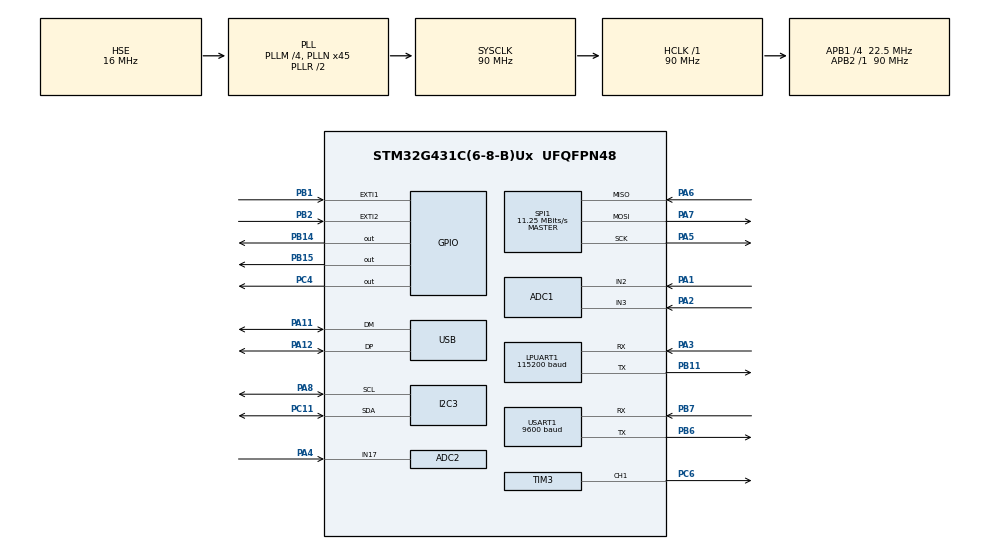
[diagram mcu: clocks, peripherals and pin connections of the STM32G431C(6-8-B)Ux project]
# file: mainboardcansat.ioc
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ADC1.Channel-0\#ChannelRegularConversion=ADC_CHANNEL_VREFINT
ADC1.Channel-1\#ChannelRegularConversion=ADC_CHANNEL_TEMPSENSOR_ADC1
ADC1.Channel-2\#ChannelRegularConversion=ADC_CHANNEL_2
ADC1.Channel-3\#ChannelRegularConversion=ADC_CHANNEL_3
ADC1.ContinuousConvMode=ENABLE
ADC1.EOCSelection=ADC_EOC_SEQ_CONV
ADC1.ExternalTrigConv=ADC_EXTERNALTRIG_T4_TRGO
ADC1.NbrOfConversion=4
ADC1.NbrOfConversionFlag=1
ADC1.OffsetNumber-0\#ChannelRegularConversion=ADC_OFFSET_NONE
ADC1.OffsetNumber-1\#ChannelRegularConversion=ADC_OFFSET_NONE
ADC1.OffsetNumber-2\#ChannelRegularConversion=ADC_OFFSET_NONE
ADC1.OffsetNumber-3\#ChannelRegularConversion=ADC_OFFSET_NONE
ADC1.Rank-0\#ChannelRegularConversion=1
ADC1.Rank-1\#ChannelRegularConversion=2
ADC1.Rank-2\#ChannelRegularConversion=3
ADC1.Rank-3\#ChannelRegularConversion=4
ADC1.SamplingTime-0\#ChannelRegularConversion=ADC_SAMPLETIME_640CYCLES_5
ADC1.SamplingTime-1\#ChannelRegularConversion=ADC_SAMPLETIME_640CYCLES_5
ADC1.SamplingTime-2\#ChannelRegularConversion=ADC_SAMPLETIME_640CYCLES_5
ADC1.SamplingTime-3\#ChannelRegularConversion=ADC_SAMPLETIME_640CYCLES_5
ADC1.master=1
ADC2.Channel-0\#ChannelRegularConversion=ADC_CHANNEL_17
ADC2.ContinuousConvMode=ENABLE
ADC2.ExternalTrigConv=ADC_EXTERNALTRIG_T4_TRGO
ADC2.NbrOfConversionFlag=1
ADC2.OffsetNumber-0\#ChannelRegularConversion=ADC_OFFSET_NONE
ADC2.Rank-0\#ChannelRegularConversion=1
ADC2.SamplingTime-0\#ChannelRegularConversion=ADC_SAMPLETIME_640CYCLES_5
Dma.ADC1.2.Direction=DMA_PERIPH_TO_MEMORY
Dma.ADC1.2.EventEnable=DISABLE
Dma.ADC1.2.Instance=DMA1_Channel3
Dma.ADC1.2.MemDataAlignment=DMA_MDATAALIGN_HALFWORD
Dma.ADC1.2.MemInc=DMA_MINC_ENABLE
Dma.ADC1.2.Mode=DMA_CIRCULAR
Dma.ADC1.2.PeriphDataAlignment=DMA_PDATAALIGN_HALFWORD
Dma.ADC1.2.PeriphInc=DMA_PINC_DISABLE
Dma.ADC1.2.Polarity=HAL_DMAMUX_REQ_GEN_RISING
Dma.ADC1.2.Priority=DMA_PRIORITY_LOW
Dma.ADC1.2.RequestNumber=1
Dma.ADC1.2.SignalID=NONE
Dma.ADC1.2.SyncEnable=DISABLE
Dma.ADC1.2.SyncPolarity=HAL_DMAMUX_SYNC_NO_EVENT
Dma.ADC1.2.SyncRequestNumber=1
Dma.ADC1.2.SyncSignalID=NONE
Dma.ADC2.4.Direction=DMA_PERIPH_TO_MEMORY
Dma.ADC2.4.EventEnable=DISABLE
Dma.ADC2.4.Instance=DMA1_Channel5
Dma.ADC2.4.MemDataAlignment=DMA_MDATAALIGN_HALFWORD
Dma.ADC2.4.MemInc=DMA_MINC_ENABLE
Dma.ADC2.4.Mode=DMA_CIRCULAR
Dma.ADC2.4.PeriphDataAlignment=DMA_PDATAALIGN_HALFWORD
Dma.ADC2.4.PeriphInc=DMA_PINC_DISABLE
Dma.ADC2.4.Polarity=HAL_DMAMUX_REQ_GEN_RISING
Dma.ADC2.4.Priority=DMA_PRIORITY_LOW
Dma.ADC2.4.RequestNumber=1
Dma.ADC2.4.SignalID=NONE
Dma.ADC2.4.SyncEnable=DISABLE
Dma.ADC2.4.SyncPolarity=HAL_DMAMUX_SYNC_NO_EVENT
Dma.ADC2.4.SyncRequestNumber=1
Dma.ADC2.4.SyncSignalID=NONE
Dma.LPUART1_RX.0.Direction=DMA_PERIPH_TO_MEMORY
Dma.LPUART1_RX.0.EventEnable=DISABLE
Dma.LPUART1_RX.0.Instance=DMA1_Channel1
Dma.LPUART1_RX.0.MemDataAlignment=DMA_MDATAALIGN_BYTE
Dma.LPUART1_RX.0.MemInc=DMA_MINC_ENABLE
Dma.LPUART1_RX.0.Mode=DMA_NORMAL
Dma.LPUART1_RX.0.PeriphDataAlignment=DMA_PDATAALIGN_BYTE
Dma.LPUART1_RX.0.PeriphInc=DMA_PINC_DISABLE
Dma.LPUART1_RX.0.Polarity=HAL_DMAMUX_REQ_GEN_RISING
Dma.LPUART1_RX.0.Priority=DMA_PRIORITY_LOW
Dma.LPUART1_RX.0.RequestNumber=1
Dma.LPUART1_RX.0.SignalID=NONE
Dma.LPUART1_RX.0.SyncEnable=DISABLE
Dma.LPUART1_RX.0.SyncPolarity=HAL_DMAMUX_SYNC_NO_EVENT
Dma.LPUART1_RX.0.SyncRequestNumber=1
Dma.LPUART1_RX.0.SyncSignalID=NONE
Dma.LPUART1_TX.1.Direction=DMA_MEMORY_TO_PERIPH
Dma.LPUART1_TX.1.EventEnable=DISABLE
Dma.LPUART1_TX.1.Instance=DMA1_Channel2
Dma.LPUART1_TX.1.MemDataAlignment=DMA_MDATAALIGN_BYTE
Dma.LPUART1_TX.1.MemInc=DMA_MINC_ENABLE
Dma.LPUART1_TX.1.Mode=DMA_NORMAL
Dma.LPUART1_TX.1.PeriphDataAlignment=DMA_PDATAALIGN_BYTE
Dma.LPUART1_TX.1.PeriphInc=DMA_PINC_DISABLE
Dma.LPUART1_TX.1.Polarity=HAL_DMAMUX_REQ_GEN_RISING
Dma.LPUART1_TX.1.Priority=DMA_PRIORITY_LOW
Dma.LPUART1_TX.1.RequestNumber=1
Dma.LPUART1_TX.1.SignalID=NONE
Dma.LPUART1_TX.1.SyncEnable=DISABLE
Dma.LPUART1_TX.1.SyncPolarity=HAL_DMAMUX_SYNC_NO_EVENT
Dma.LPUART1_TX.1.SyncRequestNumber=1
Dma.LPUART1_TX.1.SyncSignalID=NONE
Dma.Request0=LPUART1_RX
Dma.Request1=LPUART1_TX
Dma.Request2=ADC1
Dma.Request3=USART1_RX
Dma.Request4=ADC2
Dma.USART1_RX.3.Direction=DMA_PERIPH_TO_MEMORY
Dma.USART1_RX.3.EventEnable=DISABLE
Dma.USART1_RX.3.Instance=DMA1_Channel4
Dma.USART1_RX.3.MemDataAlignment=DMA_MDATAALIGN_BYTE
Dma.USART1_RX.3.MemInc=DMA_MINC_ENABLE
Dma.USART1_RX.3.Mode=DMA_CIRCULAR
Dma.USART1_RX.3.PeriphDataAlignment=DMA_PDATAALIGN_BYTE
Dma.USART1_RX.3.PeriphInc=DMA_PINC_DISABLE
Dma.USART1_RX.3.Polarity=HAL_DMAMUX_REQ_GEN_RISING
Dma.USART1_RX.3.Priority=DMA_PRIORITY_LOW
Dma.USART1_RX.3.RequestNumber=1
Dma.USART1_RX.3.SignalID=NONE
Dma.USART1_RX.3.SyncEnable=DISABLE
Dma.USART1_RX.3.SyncPolarity=HAL_DMAMUX_SYNC_NO_EVENT
Dma.USART1_RX.3.SyncRequestNumber=1
Dma.USART1_RX.3.SyncSignalID=NONE
I2C3.Timing=0x0070597B
LPUART1.BaudRate=115200
Mcu.Family=STM32G4
Mcu.Name=STM32G431C(6-8-B)Ux
Mcu.Package=UFQFPN48
NVIC.DMA1_Channel1_IRQn=true\:0\:0\:false\:false\:true\:false\:true\:true
NVIC.DMA1_Channel2_IRQn=true\:0\:0\:false\:false\:true\:false\:true\:true
NVIC.DMA1_Channel3_IRQn=true\:0\:0\:false\:false\:true\:false\:true\:true
NVIC.DMA1_Channel4_IRQn=true\:0\:0\:false\:false\:true\:false\:true\:true
NVIC.DMA1_Channel5_IRQn=true\:0\:0\:false\:false\:true\:false\:true\:true
NVIC.EXTI1_IRQn=true\:0\:0\:false\:false\:true\:true\:true\:true
NVIC.EXTI2_IRQn=true\:0\:0\:false\:false\:true\:true\:true\:true
NVIC.LPUART1_IRQn=true\:0\:0\:false\:false\:true\:true\:true\:true
NVIC.PriorityGroup=NVIC_PRIORITYGROUP_4
NVIC.TIM3_IRQn=true\:0\:0\:false\:false\:true\:true\:true\:true
NVIC.USART1_IRQn=true\:0\:0\:false\:false\:true\:true\:true\:true
PA1.Mode=IN2-Single-Ended
PA1.Signal=ADC1_IN2
PA11.Mode=Device
PA11.Signal=USB_DM
PA12.Mode=Device
PA12.Signal=USB_DP
PA13.Mode=Trace_Asynchronous_SW
PA13.Signal=SYS_JTMS-SWDIO
PA14.Mode=Trace_Asynchronous_SW
PA14.Signal=SYS_JTCK-SWCLK
PA2.Mode=IN3-Single-Ended
PA2.Signal=ADC1_IN3
PA3.Mode=Asynchronous
PA3.Signal=LPUART1_RX
PA4.Mode=IN17-Single-Ended
PA4.Signal=ADC2_IN17
PA5.Mode=Full_Duplex_Master
PA5.Signal=SPI1_SCK
PA6.Mode=Full_Duplex_Master
PA6.Signal=SPI1_MISO
PA7.Mode=Full_Duplex_Master
PA7.Signal=SPI1_MOSI
PA8.Mode=I2C
PA8.Signal=I2C3_SCL
PB1.Signal=GPXTI1
PB11.Mode=Asynchronous
PB11.Signal=LPUART1_TX
PB14.Signal=GPIO_Output
PB15.Signal=GPIO_Output
PB2.Signal=GPXTI2
PB3.Mode=Trace_Asynchronous_SW
PB3.Signal=SYS_JTDO-SWO
PB6.Mode=Asynchronous
PB6.Signal=USART1_TX
PB7.Mode=Asynchronous
PB7.Signal=USART1_RX
PC11.Mode=I2C
PC11.Signal=I2C3_SDA
PC4.Signal=GPIO_Output
PC6.Signal=S_TIM3_CH1
PF0-OSC_IN.Mode=HSE-External-Oscillator
PF0-OSC_IN.Signal=RCC_OSC_IN
PF1-OSC_OUT.Mode=HSE-External-Oscillator
PF1-OSC_OUT.Signal=RCC_OSC_OUT
ProjectManager.HeapSize=0x200
ProjectManager.StackSize=0x400
ProjectManager.TargetToolchain=STM32CubeIDE
RCC.ADC12Freq_Value=90000000
RCC.AHBFreq_Value=90000000
RCC.APB1CLKDivider=RCC_HCLK_DIV4
RCC.APB1Freq_Value=22500000
RCC.APB1TimFreq_Value=45000000
RCC.APB2Freq_Value=90000000
RCC.APB2TimFreq_Value=90000000
RCC.CK48CLockSelection=RCC_USBCLKSOURCE_HSI48
RCC.CortexFreq_Value=90000000
RCC.EXTERNAL_CLOCK_VALUE=12288000
RCC.HCLKFreq_Value=90000000
RCC.HSE_VALUE=16000000
RCC.HSI48_VALUE=48000000
RCC.HSI_VALUE=16000000
RCC.LSE_VALUE=32768
RCC.PLLM=RCC_PLLM_DIV4
RCC.PLLN=45
RCC.PLLSourceVirtual=RCC_PLLSOURCE_HSE
RCC.SYSCLKFreq_VALUE=90000000
RCC.SYSCLKSource=RCC_SYSCLKSOURCE_PLLCLK
RCC.USART1CLockSelection=RCC_USART1CLKSOURCE_HSI
RCC.USBFreq_Value=48000000
RCC.VCOOutputFreq_Value=180000000
SH.S_TIM3_CH1.0=TIM3_CH1,PWM Generation1 CH1
SPI1.BaudRatePrescaler=SPI_BAUDRATEPRESCALER_8
SPI1.CalculateBaudRate=11.25 MBits/s
SPI1.DataSize=SPI_DATASIZE_8BIT
SPI1.Direction=SPI_DIRECTION_2LINES
SPI1.Mode=SPI_MODE_MASTER
SPI1.VirtualType=VM_MASTER
TIM3.Channel-PWM\ Generation1\ CH1=TIM_CHANNEL_1
TIM3.PeriodNoDither=19999
TIM3.Prescaler=44
TIM4.PeriodNoDither=100-1
TIM4.Prescaler=64000-1
TIM4.TIM_MasterOutputTrigger=TIM_TRGO_UPDATE
USART1.BaudRate=9600
USART1.VirtualMode-Asynchronous=VM_ASYNC
VP_ADC1_TempSens_Input.Mode=IN-TempSens
VP_ADC1_Vref_Input.Mode=IN-Vrefint
VP_FATFS_VS_Generic.Mode=User_defined
VP_SYS_VS_DBSignals.Mode=DisableDeadBatterySignals
VP_TIM3_VS_ClockSourceINT.Mode=Internal
VP_TIM4_VS_ClockSourceINT.Mode=Internal
board=custom

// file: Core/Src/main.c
/* USER CODE BEGIN Header */
/**
  ******************************************************************************
  * @file           : main.c
  * @brief          : Main program body
  ******************************************************************************
  * @attention
  *
  * Copyright (c) 2024 STMicroelectronics.
  * All rights reserved.
  *
  * This software is licensed under terms that can be found in the LICENSE file
  * in the root directory of this software component.
  * If no LICENSE file comes with this software, it is provided AS-IS.
  *
  ******************************************************************************
  */
/* USER CODE END Header */
#include "main.h"
#include "adc.h"
#include "dma.h"
#include "app_fatfs.h"
#include "i2c.h"
#include "usart.h"
#include "spi.h"
#include "tim.h"
#include "usb.h"
#include "gpio.h"

/* USER CODE BEGIN Includes */
#include "fatfs_sd.h"
#include "nmea_parse.h"
/* USER CODE END Includes */

/* USER CODE BEGIN PV */
FATFS fs;
FATFS *pfs;
FIL fil;
FRESULT fres;
DWORD fre_clust;
uint32_t total, free1;

uint8_t tarvos_TX_Buffer[TarvosTxBufferSize];
uint8_t tarvos_TX_Tampon[TarvosTxTamponSize];
uint8_t tarvos_RX_Buffer[TarvosRxBufferSize];
uint8_t tarvos_RX_Tampon[TarvosRxTamponSize];
uint8_t GPS_RX_Buffer[GPSRxBufferSize];
uint8_t GPS_RX_Tampon[GPSRxTamponSize];

uint8_t SD_Card_Write_Buffer[256];

int GPSbufferoldpos=0;
int GPSbuffernewpos=0;
int TarvosRXbufferoldpos=0;
int TarvosRXbuffernewpos=0;

uint8_t commandtarvos[]={0x02,0x00,};

uint16_t rawADCdata[5];
float temp=0;
float vrefint=0;
float vbat=0;
float current=0;
float power=0;
float vexternalsensor=0;

char gyro[41];
char time[9];
extern char loc[26];
char buffer_envoi[100];

extern int flag_envoi ;
extern int flag_capteur;

/* USER CODE END PV */

void SystemClock_Config(void);

int main(void)
{

  /* MCU Configuration--------------------------------------------------------*/

  /* Reset of all peripherals, Initializes the Flash interface and the Systick. */
  HAL_Init();

  /* Configure the system clock */
  SystemClock_Config();

  /* Initialize all configured peripherals */
  MX_GPIO_Init();
  MX_DMA_Init();
  MX_SPI1_Init();
  MX_USB_PCD_Init();
  if (MX_FATFS_Init() != APP_OK) {
    Error_Handler();
  }
  MX_I2C3_Init();
  MX_LPUART1_UART_Init();
  MX_ADC1_Init();
  MX_USART1_UART_Init();
  MX_TIM3_Init();
  MX_TIM4_Init();
  MX_ADC2_Init();
  /* USER CODE BEGIN 2 */

  HAL_ADC_Start_DMA(&hadc1,(uint16_t*)rawADCdata, 5);
  HAL_ADC_Start_DMA(&hadc2,(uint16_t*)rawADCdata+4, 1);
  HAL_TIM_PWM_Start(&htim3,TIM_CHANNEL_1);

  HAL_GPIO_WritePin(GPIOB,GPIO_PIN_15,GPIO_PIN_SET);

  HAL_Delay(100);
  HAL_UART_Abort(&huart1);
  HAL_UART_Receive_DMA(&huart1, (uint8_t *)GPS_RX_Tampon, GPSRxTamponSize);

  HAL_Delay(100);
  HAL_UART_Abort(&hlpuart1);
  HAL_UART_Receive_DMA(&hlpuart1, (uint8_t *)tarvos_RX_Tampon, TarvosRxTamponSize);

  f_mount(&fs, "", 0);

// f_open(&fil, "debut.txt", FA_OPEN_ALWAYS | FA_READ | FA_WRITE);
//
// f_getfree("", &fre_clust, &pfs);
//
//  total = (uint32_t)((pfs->n_fatent - 2) * pfs->csize * 0.5);
//  free1 = (uint32_t)(fre_clust * pfs->csize * 0.5);
//
//  snprintf((uint8_t *) SD_Card_Write_Buffer,256,"adc1=%d,adc2=%d,adc3=%d,adc4=%d,adc5=%d\n\r",rawADCdata[0],rawADCdata[1],rawADCdata[2],rawADCdata[3],rawADCdata[4]);
//
//  f_puts("test", &fil);
//  f_puts((uint8_t *) SD_Card_Write_Buffer, &fil);
//  snprintf((uint8_t *) SD_Card_Write_Buffer,256,"adc1=%d,adc2=%d,adc3=%d,adc4=%d,adc5=%d\n\r",rawADCdata[0],rawADCdata[1],rawADCdata[2],rawADCdata[3],rawADCdata[4]);
//  f_puts((uint8_t *) SD_Card_Write_Buffer, &fil);
//  f_close(&fil);
//  /* Unmount SDCARD */
//  f_mount(NULL, "", 1);

  int indexboucle=0;
  int tarvosen=0;
  f_open(&fil, "adc.txt", FA_OPEN_ALWAYS | FA_READ | FA_WRITE);

  		   f_getfree("", &fre_clust, &pfs);

  /* USER CODE END 2 */

  /* Infinite loop */
  /* USER CODE BEGIN WHILE */
  while (1)
  {
	 INIT_PERM_TARVOS(0x16, 0x07); //L'adresse du module est 1° et il envoit à 2°
	 SEND_DATA_NETW("Voila le test",0x82, 0x07, sizeof("Voila le test")); // on envoi à l'adresse 0x07

	 if (flag_capteur == 1){
			  //strcpy(gyro, Read_sensor_data());
			  //strcpy(time,Get_Time());
			  //strcpy(loc,Get_Loc());
	  		  flag_capteur = 0;
	  	 }
	 if (flag_envoi == 1){
		 //SEND_DATA_NETW(buffer_envoi,0x82, 0x02, sizeof(buffer_envoi)); // on envoi à l'adresse 0x02
		 flag_envoi = 0;
	 }

    /* USER CODE END WHILE */

  }
}

void SystemClock_Config(void)
{
  RCC_OscInitTypeDef RCC_OscInitStruct = {0};
  RCC_ClkInitTypeDef RCC_ClkInitStruct = {0};

  /** Configure the main internal regulator output voltage
  */
  HAL_PWREx_ControlVoltageScaling(PWR_REGULATOR_VOLTAGE_SCALE1);

  /** Initializes the RCC Oscillators according to the specified parameters
  * in the RCC_OscInitTypeDef structure.
  */
  RCC_OscInitStruct.OscillatorType = RCC_OSCILLATORTYPE_HSI|RCC_OSCILLATORTYPE_HSI48
                              |RCC_OSCILLATORTYPE_HSE;
  RCC_OscInitStruct.HSEState = RCC_HSE_ON;
  RCC_OscInitStruct.HSIState = RCC_HSI_ON;
  RCC_OscInitStruct.HSICalibrationValue = RCC_HSICALIBRATION_DEFAULT;
  RCC_OscInitStruct.HSI48State = RCC_HSI48_ON;
  RCC_OscInitStruct.PLL.PLLState = RCC_PLL_ON;
  RCC_OscInitStruct.PLL.PLLSource = RCC_PLLSOURCE_HSE;
  RCC_OscInitStruct.PLL.PLLM = RCC_PLLM_DIV4;
  RCC_OscInitStruct.PLL.PLLN = 45;
  RCC_OscInitStruct.PLL.PLLP = RCC_PLLP_DIV2;
  RCC_OscInitStruct.PLL.PLLQ = RCC_PLLQ_DIV2;
  RCC_OscInitStruct.PLL.PLLR = RCC_PLLR_DIV2;
  if (HAL_RCC_OscConfig(&RCC_OscInitStruct) != HAL_OK)
  {
    Error_Handler();
  }

  /** Initializes the CPU, AHB and APB buses clocks
  */
  RCC_ClkInitStruct.ClockType = RCC_CLOCKTYPE_HCLK|RCC_CLOCKTYPE_SYSCLK
                              |RCC_CLOCKTYPE_PCLK1|RCC_CLOCKTYPE_PCLK2;
  RCC_ClkInitStruct.SYSCLKSource = RCC_SYSCLKSOURCE_PLLCLK;
  RCC_ClkInitStruct.AHBCLKDivider = RCC_SYSCLK_DIV1;
  RCC_ClkInitStruct.APB1CLKDivider = RCC_HCLK_DIV4;
  RCC_ClkInitStruct.APB2CLKDivider = RCC_HCLK_DIV1;

  if (HAL_RCC_ClockConfig(&RCC_ClkInitStruct, FLASH_LATENCY_2) != HAL_OK)
  {
    Error_Handler();
  }
}

/* USER CODE BEGIN 4 */
void mise_sous_buffer(char loc[],char time[],char ){

}
/* USER CODE END 4 */

void Error_Handler(void)
{
  __disable_irq();
  while (1)
  {
  }
}
